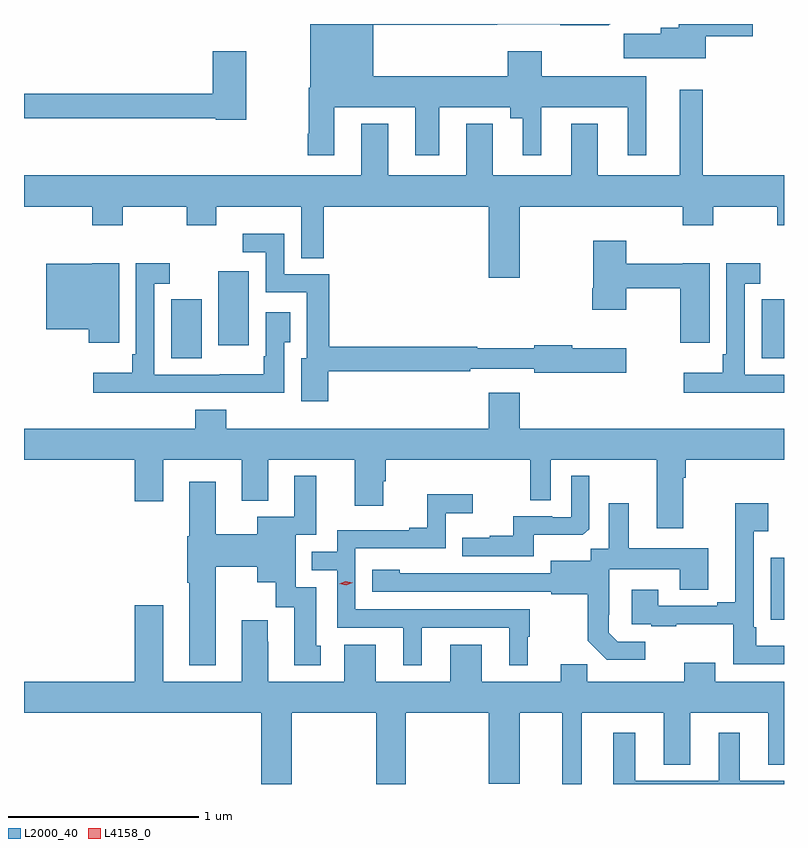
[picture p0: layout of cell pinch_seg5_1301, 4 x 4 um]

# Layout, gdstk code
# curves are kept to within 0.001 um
import gdstk
lib = gdstk.Library(unit=1e-6, precision=1e-09)
def R(c, l, rs):  # rectangles x0, y0, x1, y1
    for r in rs: c.add(gdstk.rectangle(r[:2], r[2:], *l))
def P(c, l, *ps):  # polygons
    for p in ps: c.add(gdstk.Polygon(p, *l))
L2000_40 = (2000, 40)
L4158_0 = (4158, 0)

pinch_seg5_1301 = lib.new_cell('pinch_seg5_1301')
R(pinch_seg5_1301, L2000_40, [(346.314,885.221,346.383,885.547), (343.157,886.597,343.318,886.908), (346.265,886.597,346.383,886.908), (343.406,886.667,343.567,887.056)])
P(pinch_seg5_1301, L2000_40, [(345.97,888.293),(346.219,888.293),(346.219,888.357),(345.83,888.357),(345.83,888.337),(345.734,888.337),(345.734,888.305),(345.54,888.305),(345.54,888.176),(345.97,888.176)],
  [(344.017,887.918),(344.441,887.918),(344.441,887.667),(344.569,887.667),(344.569,887.918),(344.942,887.918),(344.942,887.861),(345.008,887.861),(345.008,887.667),(345.106,887.667),(345.106,887.918),(345.56,887.918),(345.56,887.667),(345.658,887.667),(345.658,888.082),(345.108,888.082),(345.108,888.214),(344.93,888.214),(344.93,888.082),(344.221,888.082),(344.221,888.352),(344.873,888.352),(344.873,888.356),(345.205,888.356),(345.205,888.35),(345.461,888.35),(345.468,888.357),(343.889,888.357),(343.889,888.022),(343.882,888.022),(343.882,887.779),(343.877,887.779),(343.877,887.667),(344.017,887.667)],
  [(343.554,888.214),(343.376,888.214),(343.376,887.99),(342.383,887.99),(342.383,887.862),(343.392,887.862),(343.392,887.854),(343.554,887.854)],
  [(344.851,887.833),(344.711,887.833),(344.711,887.56),(344.299,887.56),(344.299,887.833),(344.159,887.833),(344.159,887.56),(342.383,887.56),(342.383,887.396),(342.743,887.396),(342.743,887.297),(342.903,887.297),(342.903,887.396),(343.24,887.396),(343.24,887.297),(343.395,887.297),(343.395,887.396),(343.841,887.396),(343.841,887.125),(343.96,887.125),(343.96,887.396),(344.828,887.396),(344.828,887.022),(344.992,887.022),(344.992,887.396),(345.851,887.396),(345.851,887.297),(346.011,887.297),(346.011,887.396),(346.348,887.396),(346.348,887.297),(346.383,887.297),(346.383,887.56),(345.955,887.56),(345.955,888.01),(345.833,888.01),(345.833,887.56),(345.403,887.56),(345.403,887.833),(345.263,887.833),(345.263,887.56),(344.851,887.56)],
  [(343.985,886.53),(344.732,886.53),(344.732,886.542),(345.068,886.542),(345.068,886.522),(345.553,886.522),(345.553,886.651),(345.268,886.651),(345.268,886.666),(345.068,886.666),(345.068,886.651),(344.768,886.651),(344.768,886.658),(343.99,886.658),(343.99,887.04),(343.752,887.04),(343.752,887.254),(343.533,887.254),(343.533,887.157),(343.656,887.157),(343.656,886.944),(343.871,886.944),(343.871,886.599),(343.841,886.599),(343.841,886.371),(343.985,886.371)],
  [(345.991,887.098),(345.849,887.098),(345.849,887.095),(345.552,887.095),(345.552,887.215),(345.379,887.215),(345.379,886.966),(345.374,886.966),(345.374,886.854),(345.552,886.854),(345.552,886.966),(345.838,886.966),(345.838,886.68),(345.991,886.68)],
  [(343.165,886.416),(343.531,886.416),(343.531,886.415),(343.752,886.415),(343.752,886.681),(343.783,886.681),(343.783,886.84),(343.656,886.84),(343.656,886.609),(343.644,886.609),(343.644,886.513),(343.414,886.513),(343.414,886.512),(343.068,886.512),(343.068,886.989),(343.15,886.989),(343.15,887.098),(342.972,887.098),(342.972,886.618),(342.952,886.618),(342.952,886.522),(342.747,886.522),(342.747,886.415),(343.165,886.415)],
  [(342.883,887.098),(342.741,887.098),(342.741,887.095),(342.5,887.095),(342.5,886.751),(342.725,886.751),(342.725,886.68),(342.883,886.68)],
  [(346.273,886.416),(346.383,886.416),(346.383,886.512),(346.176,886.512),(346.176,886.989),(346.258,886.989),(346.258,887.098),(346.08,887.098),(346.08,886.618),(346.06,886.618),(346.06,886.522),(345.855,886.522),(345.855,886.415),(346.273,886.415)],
  [(345.853,885.968),(345.866,885.968),(345.866,886.064),(346.383,886.064),(346.383,886.228),(344.992,886.228),(344.992,886.417),(344.828,886.417),(344.828,886.228),(343.448,886.228),(343.448,886.327),(343.283,886.327),(343.283,886.228),(342.383,886.228),(342.383,886.064),(342.965,886.064),(342.965,885.846),(343.117,885.846),(343.117,886.064),(343.529,886.064),(343.529,885.848),(343.669,885.848),(343.669,886.064),(344.123,886.064),(344.123,885.822),(344.275,885.822),(344.275,885.951),(344.288,885.951),(344.288,886.064),(345.048,886.064),(345.048,885.85),(345.156,885.85),(345.156,886.064),(345.713,886.064),(345.713,885.702),(345.853,885.702)],
  [(345.067,885.668),(345.325,885.668),(345.357,885.699),(345.357,885.979),(345.264,885.979),(345.264,885.762),(345.164,885.762),(345.164,885.765),(344.957,885.765),(344.957,885.664),(344.833,885.664),(344.833,885.652),(344.689,885.652),(344.689,885.555),(345.067,885.555)],
  [(343.393,885.5),(343.61,885.5),(343.61,885.419),(343.709,885.419),(343.709,885.288),(343.805,885.288),(343.805,884.982),(343.945,884.982),(343.945,885.084),(343.921,885.084),(343.921,885.393),(343.812,885.393),(343.812,885.669),(343.921,885.669),(343.921,885.979),(343.805,885.979),(343.805,885.763),(343.61,885.763),(343.61,885.672),(343.393,885.672),(343.393,885.949),(343.253,885.949),(343.253,885.66),(343.241,885.66),(343.241,885.416),(343.253,885.416),(343.253,884.981),(343.393,884.981)],
  [(344.476,885.18),(344.936,885.18),(344.936,884.981),(345.034,884.981),(345.034,885.132),(345.046,885.132),(345.046,885.276),(344.127,885.276),(344.127,885.597),(344.604,885.597),(344.604,885.782),(344.746,885.782),(344.746,885.881),(344.506,885.881),(344.506,885.706),(344.411,885.706),(344.411,885.693),(344.031,885.693),(344.031,885.579),(343.898,885.579),(343.898,885.483),(344.031,885.483),(344.031,885.18),(344.378,885.18),(344.378,884.981),(344.476,884.981)],
  [(346.383,885.085),(346.237,885.085),(346.237,885.181),(346.224,885.181),(346.224,885.686),(346.3,885.686),(346.3,885.835),(346.127,885.835),(346.127,885.313),(346.031,885.313),(346.031,885.294),(345.721,885.294),(345.721,885.379),(345.581,885.379),(345.581,885.198),(345.685,885.198),(345.685,885.186),(345.817,885.186),(345.817,885.197),(346.116,885.197),(346.116,884.988),(346.383,884.988)],
  [(345.652,885.105),(345.507,885.105),(345.46,885.152),(345.46,885.247),(345.462,885.247),(345.462,885.488),(345.833,885.488),(345.833,885.379),(345.985,885.379),(345.985,885.598),(345.565,885.598),(345.565,885.835),(345.461,885.835),(345.461,885.596),(345.366,885.596),(345.366,885.532),(345.155,885.532),(345.155,885.465),(344.361,885.466),(344.361,885.484),(344.217,885.484),(344.217,885.369),(345.159,885.369),(345.159,885.357),(345.351,885.357),(345.351,885.111),(345.451,885.011),(345.652,885.011)],
  [(343.791,884.732),(344.236,884.732),(344.236,884.357),(344.391,884.357),(344.391,884.732),(344.828,884.732),(344.828,884.358),(344.992,884.358),(344.992,884.732),(345.215,884.732),(345.215,884.357),(345.319,884.357),(345.319,884.732),(345.749,884.732),(345.749,884.459),(345.889,884.459),(345.889,884.732),(346.301,884.732),(346.301,884.459),(346.383,884.459),(346.383,884.896),(346.021,884.896),(346.021,884.995),(345.857,884.995),(345.857,884.896),(345.347,884.896),(345.347,884.987),(345.209,884.987),(345.209,884.896),(344.791,884.896),(344.791,885.091),(344.627,885.091),(344.627,884.896),(344.233,884.896),(344.233,885.091),(344.069,885.091),(344.069,884.896),(343.669,884.896),(343.669,885.107),(343.666,885.107),(343.666,885.22),(343.529,885.22),(343.529,884.896),(343.117,884.896),(343.117,885.298),(342.965,885.298),(342.965,884.896),(342.383,884.896),(342.383,884.732),(343.631,884.732),(343.631,884.357),(343.791,884.357)],
  [(346.383,884.374),(346.15,884.374),(346.15,884.626),(346.04,884.626),(346.04,884.374),(345.601,884.374),(345.601,884.626),(345.485,884.626),(345.485,884.357),(346.383,884.357)])
P(pinch_seg5_1301, L4158_0, [(344.078,885.403),(344.043,885.41),(344.042,885.41),(344.043,885.41),(344.076,885.423),(344.111,885.416),(344.112,885.415),(344.111,885.415)])

lib.write_gds('pinch_seg5_1301.gds')
